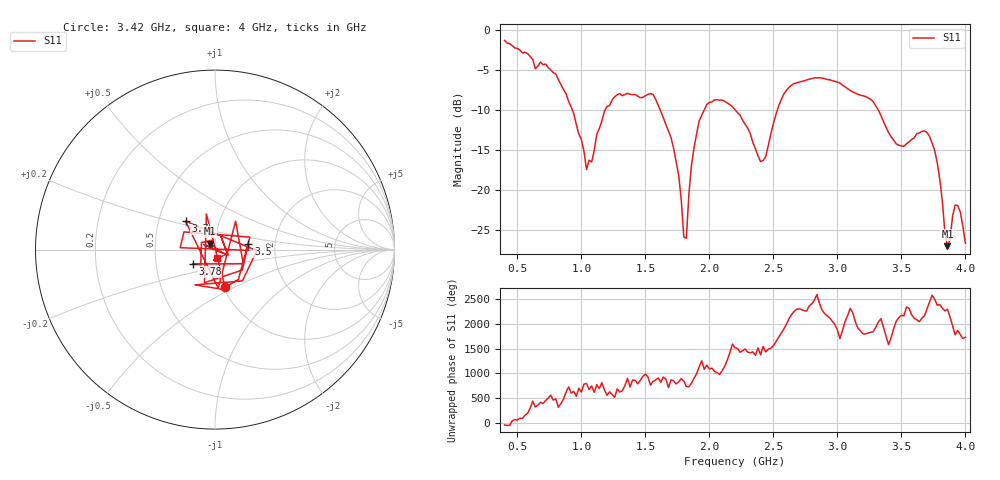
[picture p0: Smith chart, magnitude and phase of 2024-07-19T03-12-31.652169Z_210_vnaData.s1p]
!Created with skrf (http://scikit-rf.org).
# Hz S RI R 50.0
!freq ReS11 ImS11
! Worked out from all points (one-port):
!   181 points, 400 MHz to 4 GHz, reference 50 ohm
!   lowest |S11| = -27.0 dB at 3.86 GHz (marker M1), VSWR 1.09, Z = 47.1 + j3.2 ohm
!   |S11| at or under -10 dB: 1.615 GHz to 1.96 GHz (345.5 MHz wide, 19.3 % of centre); 2.2 GHz to 2.532 GHz (331.6 MHz wide, 14 % of centre); 3.318 GHz to end of sweep (the widest 3 of 4)
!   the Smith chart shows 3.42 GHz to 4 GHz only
!   S11 on the Smith chart (normalised r, x): 3.42 GHz: 1.02, -0.44; 3.5 GHz: 1.45, +0.09; 3.7 GHz: 0.69, +0.23; 3.78 GHz: 0.77, -0.13; 4 GHz: 1.02, -0.09
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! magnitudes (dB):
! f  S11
! 400 MHz  -1.4
! 860 MHz  -7.5
! 1.04 GHz  -17.5
! 1.18 GHz  -10.2
! 1.3 GHz  -8.0
! 1.56 GHz  -8.1
! 1.7 GHz  -13.5
! 1.76 GHz  -18.2
! 1.8 GHz  -25.9
! 1.82 GHz  -26.0
! 1.86 GHz  -16.9
! 1.92 GHz  -11.4
! 2.04 GHz  -8.8
! 2.2 GHz  -10.0
! 2.4 GHz  -16.5
! 2.56 GHz  -8.8
! 2.66 GHz  -6.7
! 3.1 GHz  -7.6
! 3.28 GHz  -9.0
! 3.42 GHz  -13.4
! 3.5 GHz  -14.5
! 3.56 GHz  -14.0
! 3.7 GHz  -12.8
! 3.78 GHz  -16.6
! 3.86 GHz  -27.0
! 3.92 GHz  -21.9
! 3.96 GHz  -22.7
! 4 GHz  -26.6
